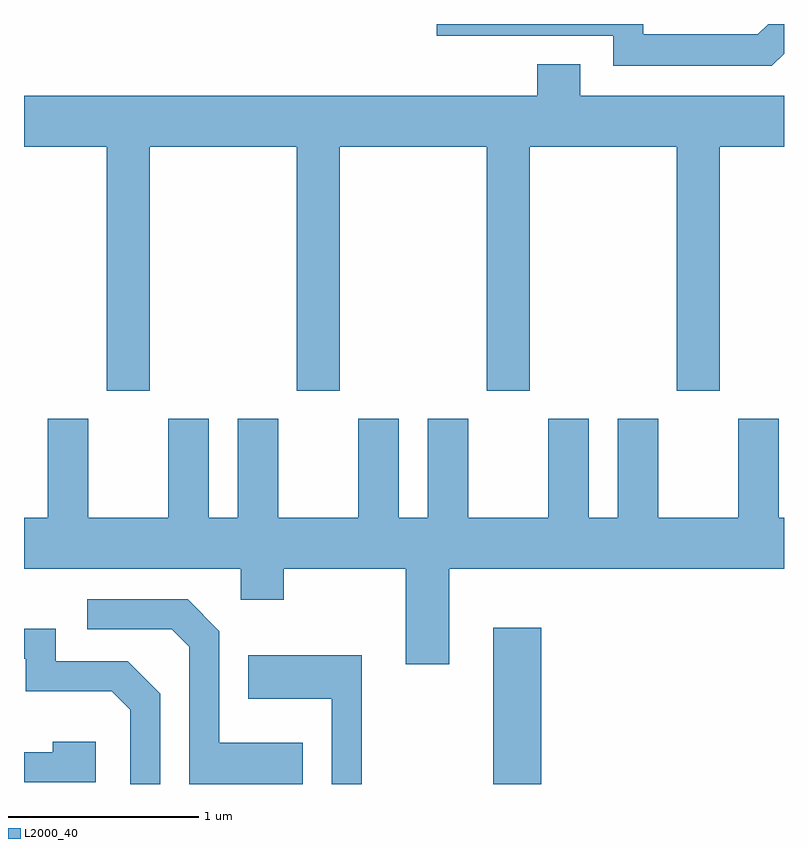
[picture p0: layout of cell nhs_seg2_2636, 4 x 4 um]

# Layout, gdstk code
import gdstk
lib = gdstk.Library(unit=1e-6, precision=1e-09)
def R(c, l, rs):  # rectangles x0, y0, x1, y1
    for r in rs: c.add(gdstk.rectangle(r[:2], r[2:], *l))
def P(c, l, *ps):  # polygons
    for p in ps: c.add(gdstk.Polygon(p, *l))
L2000_40 = (2000, 40)

nhs_seg2_2636 = lib.new_cell('nhs_seg2_2636')
R(nhs_seg2_2636, L2000_40, [(264.081,1093.802,264.334,1094.624)])
P(nhs_seg2_2636, L2000_40, [(265.611,1097.645),(265.611,1097.802),(265.527,1097.802),(265.474,1097.749),(264.869,1097.749),(264.869,1097.802),(263.783,1097.802),(263.783,1097.741),(264.711,1097.741),(264.711,1097.581),(265.547,1097.581)],
  [(262.274,1097.156),(263.046,1097.156),(263.046,1095.871),(263.274,1095.871),(263.274,1097.156),(264.046,1097.156),(264.046,1095.871),(264.274,1095.871),(264.274,1097.156),(265.046,1097.156),(265.046,1095.871),(265.274,1095.871),(265.274,1097.156),(265.611,1097.156),(265.611,1097.424),(264.539,1097.424),(264.539,1097.589),(264.311,1097.589),(264.311,1097.424),(261.611,1097.424),(261.611,1097.156),(262.046,1097.156),(262.046,1095.871),(262.274,1095.871)],
  [(263.849,1094.936),(265.611,1094.936),(265.611,1095.204),(265.584,1095.204),(265.584,1095.724),(265.371,1095.724),(265.371,1095.204),(264.949,1095.204),(264.949,1095.724),(264.736,1095.724),(264.736,1095.204),(264.584,1095.204),(264.584,1095.724),(264.371,1095.724),(264.371,1095.204),(263.949,1095.204),(263.949,1095.724),(263.736,1095.724),(263.736,1095.204),(263.584,1095.204),(263.584,1095.724),(263.371,1095.724),(263.371,1095.204),(262.949,1095.204),(262.949,1095.724),(262.736,1095.724),(262.736,1095.204),(262.584,1095.204),(262.584,1095.724),(262.371,1095.724),(262.371,1095.204),(261.949,1095.204),(261.949,1095.724),(261.736,1095.724),(261.736,1095.204),(261.611,1095.204),(261.611,1094.936),(262.751,1094.936),(262.751,1094.771),(262.979,1094.771),(262.979,1094.936),(263.621,1094.936),(263.621,1094.431),(263.849,1094.431)],
  [(263.079,1094.019),(262.639,1094.019),(262.639,1094.607),(262.472,1094.774),(261.943,1094.774),(261.943,1094.616),(262.389,1094.616),(262.481,1094.524),(262.481,1093.802),(263.079,1093.802)],
  [(262.329,1094.277),(262.157,1094.449),(261.779,1094.449),(261.779,1094.619),(261.611,1094.619),(261.611,1094.461),(261.621,1094.461),(261.621,1094.291),(262.074,1094.291),(262.171,1094.194),(262.171,1093.802),(262.329,1093.802)],
  [(263.389,1094.479),(262.791,1094.479),(262.791,1094.251),(263.231,1094.251),(263.231,1093.802),(263.389,1093.802)],
  [(261.989,1094.024),(261.761,1094.024),(261.761,1093.969),(261.611,1093.969),(261.611,1093.811),(261.989,1093.811)])

lib.write_gds('nhs_seg2_2636.gds')
